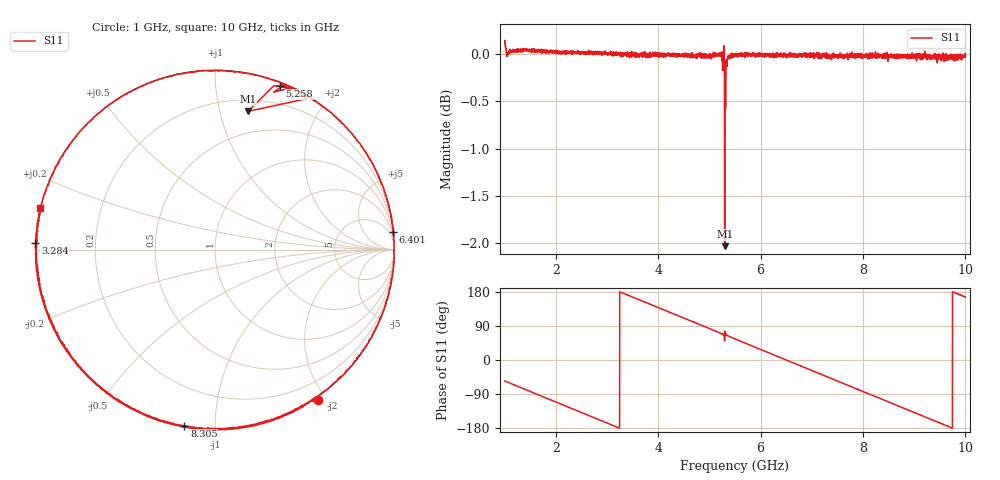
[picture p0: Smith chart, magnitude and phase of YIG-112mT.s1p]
#  HZ  S  RI  R  50.0
! Rohde & Schwarz ZVL13 2Ports - Version 3.31 - 1303.6509k13 SN: 101088
! Date: 2023-03-02 16:59:04
! Data & Calibration Information:
! Trc2:S21(Trans Norm)
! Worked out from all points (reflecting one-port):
!   4000 points, 1 GHz to 10 GHz, reference 50 ohm
!   lowest |S11| = -2.0 dB at 5.299 GHz (marker M1), VSWR 8.60, Z = 14.8 + j61.2 ohm
!   phase of S11 starts at -55 deg and turns -498 deg over the sweep
!   S11 on the Smith chart (normalised r, x): 1 GHz: -0.03, -1.90; 3.284 GHz: -0.00, +0.02; 5.258 GHz: 0.03, +1.47; 6.401 GHz: 0, +20; 8.305 GHz: 0.00, -0.84; 10 GHz: 0.00, +0.12
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1e9  0.5755 -0.8355
1.578395e9  0.045 -1.005
1.857464e9  -0.2231 -0.9759
2.125281e9  -0.4666 -0.8864
2.717179e9  -0.8697 -0.4916
2.989497e9  -0.9678 -0.2473
3.250563e9  -0.9973 0.00289
3.284321e9  -1 0.0358
3.810953e9  -0.8537 0.5157
4.375844e9  -0.4626 0.8863
4.828207e9  -0.044 0.9945
5.093773e9  0.2112 0.9738
5.258065e9  0.3604 0.9114
5.298575e9  0.1843 0.77
5.501125e9  0.5653 0.8232
5.980495e9  0.8744 0.4835
6.40135e9  0.9933 0.0973
6.626407e9  0.9914 -0.1218
6.909977e9  0.9189 -0.3823
7.184546e9  0.7893 -0.6133
7.751688e9  0.3546 -0.9301
8.035259e9  0.0888 -0.9924
8.305326e9  -0.1708 -0.9827
8.575394e9  -0.4196 -0.9035
8.876969e9  -0.6633 -0.7454
9.43961e9  -0.9525 -0.2922
9.727682e9  -0.9991 -0.0219
1e10  -0.9665 0.2395
